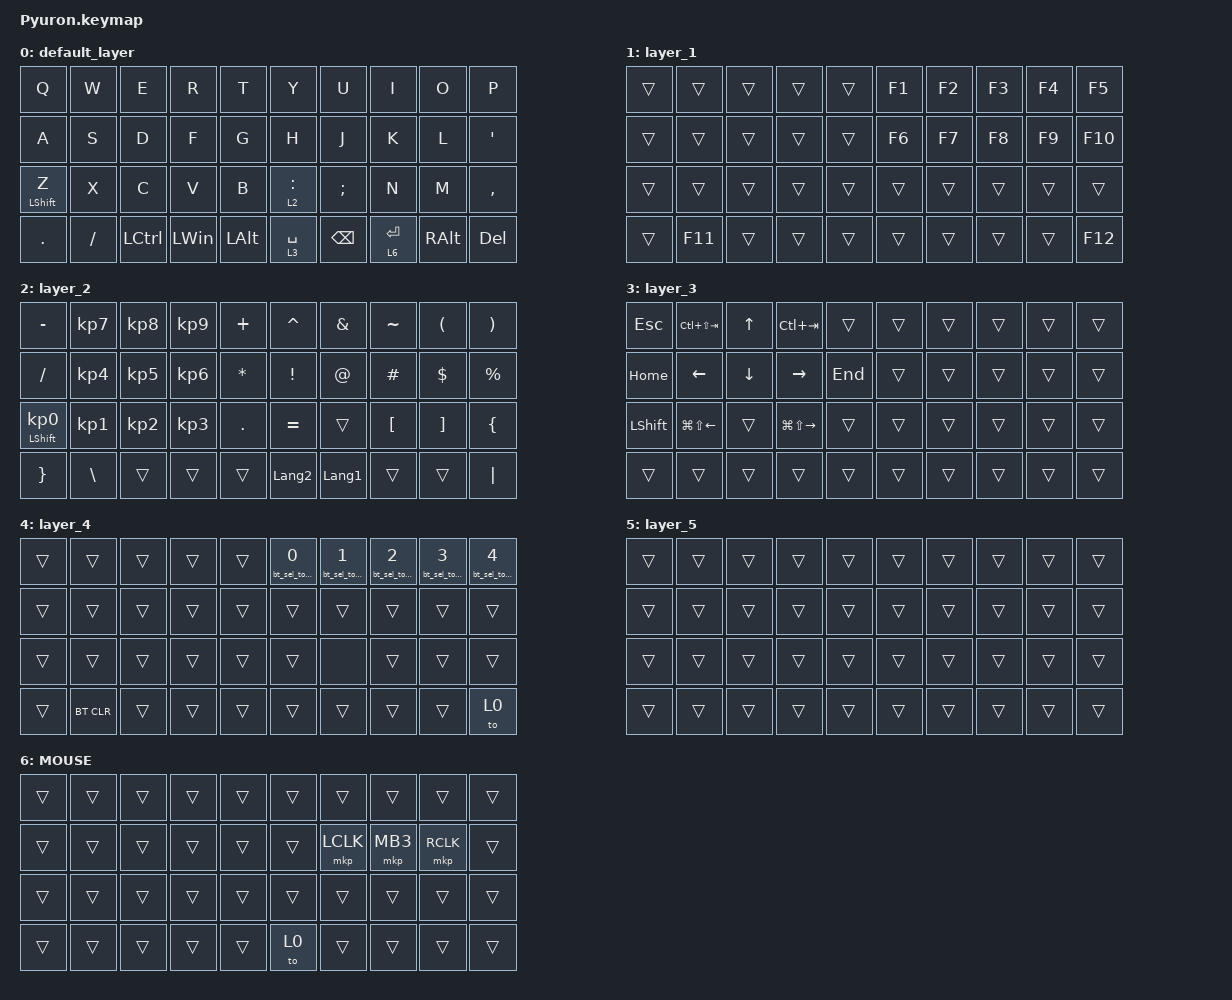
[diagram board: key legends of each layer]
#include <behaviors.dtsi>
#include <dt-bindings/zmk/bt.h>
#include <dt-bindings/zmk/keys.h>
#include <dt-bindings/zmk/pointing.h>

#define MOUSE 6

&mt {
    flavor = "balanced";
    quick-tap-ms = <0>;
};

/ {
    combos {
        compatible = "zmk,combos";

        // Q + P together -> BT settings layer (BT_SEL auto-exits; BT_CLR stays, exit with &to 0 on DEL position)
        combo_bt_layer {
            timeout-ms = <50>;
            key-positions = <0 9>;
            bindings = <&to 4>;
        };
    };

    macros {
        to_layer_0: to_layer_0 {
            compatible = "zmk,behavior-macro-one-param";
            #binding-cells = <1>;
            bindings = <&to 0 &macro_param_1to1 &kp MACRO_PLACEHOLDER>;
            label = "TO_LAYER_0";
        };

        // Select BT profile, then return to base layer (avoids getting stuck in BT layer)
        bt_sel_to_base: bt_sel_to_base {
            compatible = "zmk,behavior-macro-one-param";
            #binding-cells = <1>;
            bindings = <&macro_param_1to2 &bt BT_SEL MACRO_PLACEHOLDER &to 0>;
            label = "BT_SEL_TO_BASE";
        };
    };

    lt_to_layer_0: lt_to_layer_0 {
        compatible = "zmk,behavior-hold-tap";
        label = "LAYER_TAP_TO_0";
        bindings = <&mo>, <&to_layer_0>;

        #binding-cells = <2>;
        tapping-term-ms = <200>;
    };
};

/ {
    behaviors {
    };

    keymap {
        compatible = "zmk,keymap";

        default_layer {
            bindings = <
&kp Q             &kp W      &kp E      &kp R         &kp T           &kp Y        &kp U          &kp I        &kp O          &kp P
&kp A             &kp S      &kp D      &kp F         &kp G           &kp H        &kp J          &kp K        &kp L          &kp SQT
&mt LEFT_SHIFT Z  &kp X      &kp C      &kp V         &kp B           &lt 2 COLON  &kp SEMICOLON  &kp N        &kp M          &kp COMMA
&kp DOT           &kp SLASH  &kp LCTRL  &kp LEFT_WIN  &kp LEFT_ALT    &lt 3 SPACE  &kp BACKSPACE  &lt 6 ENTER  &kp RIGHT_ALT  &kp DEL
            >;
        };

        layer_1 {
            bindings = <
&trans  &trans   &trans  &trans  &trans  &kp F1  &kp F2  &kp F3  &kp F4  &kp F5
&trans  &trans   &trans  &trans  &trans  &kp F6  &kp F7  &kp F8  &kp F9  &kp F10
&trans  &trans   &trans  &trans  &trans  &trans  &trans  &trans  &trans  &trans
&trans  &kp F11  &trans  &trans  &trans  &trans  &trans  &trans  &trans  &kp F12
            >;
        };

        layer_2 {
            bindings = <
&kp MINUS                   &kp KP_NUMBER_7  &kp KP_NUMBER_8  &kp KP_NUMBER_9  &kp PLUS      &kp CARET        &kp AMPERSAND   &kp TILDE         &kp LEFT_PARENTHESIS  &kp RIGHT_PARENTHESIS
&kp SLASH                   &kp KP_NUMBER_4  &kp KP_NUMBER_5  &kp KP_NUMBER_6  &kp ASTERISK  &kp EXCLAMATION  &kp AT_SIGN     &kp HASH          &kp DOLLAR            &kp PERCENT
&mt LEFT_SHIFT KP_NUMBER_0  &kp KP_NUMBER_1  &kp KP_NUMBER_2  &kp KP_NUMBER_3  &kp PERIOD    &kp EQUAL        &trans          &kp LEFT_BRACKET  &kp RIGHT_BRACKET     &kp LEFT_BRACE
&kp RIGHT_BRACE             &kp BACKSLASH    &trans           &trans           &trans        &kp LANGUAGE_2   &kp LANGUAGE_1  &trans            &trans                &kp PIPE
            >;
        };

        layer_3 {
            bindings = <
&kp ESCAPE      &kp LC(LS(TAB))         &kp UP_ARROW    &kp LC(TAB)              &trans   &trans  &trans  &trans  &trans  &trans
&kp HOME        &kp LEFT_ARROW          &kp DOWN_ARROW  &kp RIGHT_ARROW          &kp END  &trans  &trans  &trans  &trans  &trans
&kp LEFT_SHIFT  &kp LG(LS(LEFT_ARROW))  &trans          &kp LG(LS(RIGHT_ARROW))  &trans   &trans  &trans  &trans  &trans  &trans
&trans          &trans                  &trans          &trans                   &trans   &trans  &trans  &trans  &trans  &trans
            >;
        };

        layer_4 {
            bindings = <
&trans  &trans      &trans  &trans  &trans  &bt_sel_to_base 0  &bt_sel_to_base 1  &bt_sel_to_base 2  &bt_sel_to_base 3  &bt_sel_to_base 4
&trans  &trans      &trans  &trans  &trans  &trans        &trans        &trans        &trans        &trans
&trans  &trans      &trans  &trans  &trans  &trans        &none         &trans        &trans        &trans
&trans  &bt BT_CLR  &trans  &trans  &trans  &trans        &trans        &trans        &trans        &to 0
            >;
        };

        layer_5 {
            bindings = <
&trans  &trans  &trans  &trans  &trans  &trans  &trans  &trans  &trans  &trans
&trans  &trans  &trans  &trans  &trans  &trans  &trans  &trans  &trans  &trans
&trans  &trans  &trans  &trans  &trans  &trans  &trans  &trans  &trans  &trans
&trans  &trans  &trans  &trans  &trans  &trans  &trans  &trans  &trans  &trans
            >;
        };

        MOUSE {
            bindings = <
&trans  &trans  &trans  &trans  &trans  &trans  &trans     &trans    &trans     &trans
&trans  &trans  &trans  &trans  &trans  &trans  &mkp LCLK  &mkp MB3  &mkp RCLK  &trans
&trans  &trans  &trans  &trans  &trans  &trans  &trans     &trans    &trans     &trans
&trans  &trans  &trans  &trans  &trans  &to 0   &trans     &trans    &trans     &trans
            >;
        };
    };
};
